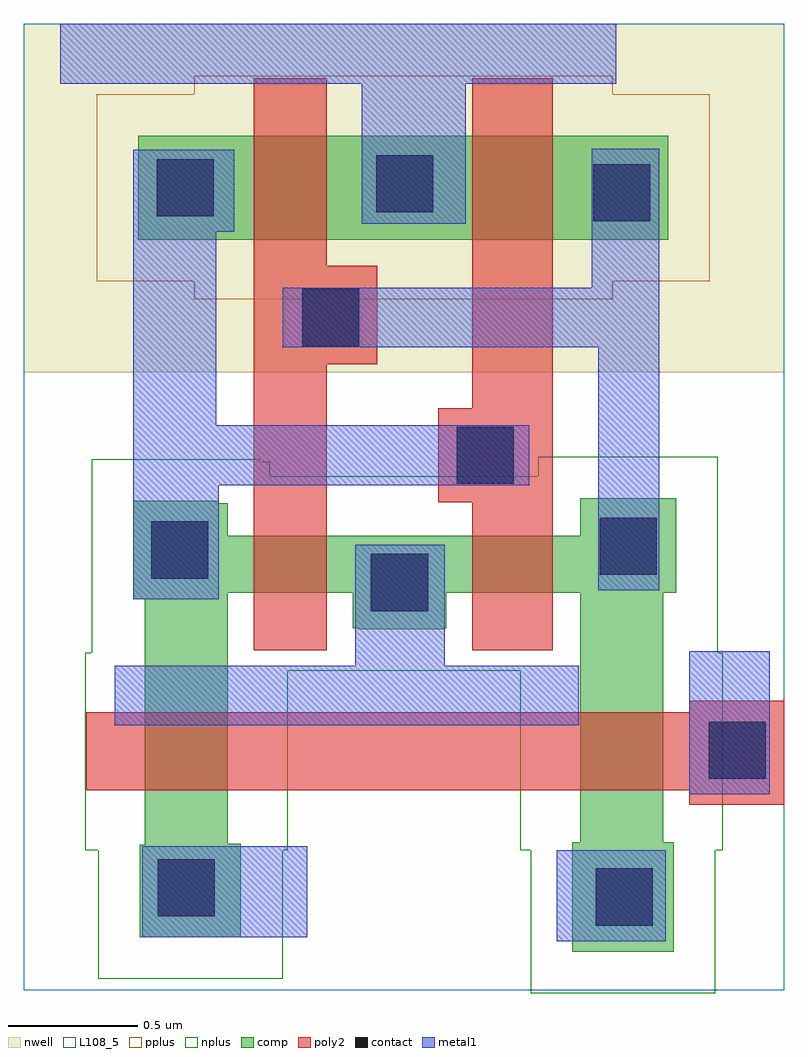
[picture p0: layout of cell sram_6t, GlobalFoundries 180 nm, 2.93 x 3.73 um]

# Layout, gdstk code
import gdstk
lib = gdstk.Library(unit=1e-6, precision=1e-09)
def R(c, l, rs):  # rectangles x0, y0, x1, y1
    for r in rs: c.add(gdstk.rectangle(r[:2], r[2:], *l))
nwell = (21, 0)
comp = (22, 0)
poly2 = (30, 0)
pplus = (31, 0)
nplus = (32, 0)
contact = (33, 0)
metal1 = (34, 0)
L108_5 = (108, 5)

sram_6t = lib.new_cell('sram_6t')
R(sram_6t, nwell, [(-0.55,2,2.375,3.34)])
R(sram_6t, comp, [(1.56,-0.23,1.95,0.19), (-0.105,-0.175,0.285,0.18), (-0.085,0.18,0.285,0.185), (-0.085,0.185,0.235,1.125), (1.59,0.19,1.91,1.15), (0.735,1.01,1.07,1.015), (0.715,1.015,1.075,1.15), (-0.13,1.125,0.235,1.15), (-0.13,1.15,1.96,1.37), (-0.13,1.37,0.235,1.495), (1.59,1.37,1.96,1.515), (-0.13,1.495,0.2,1.505), (-0.11,2.51,1.93,2.91)])
R(sram_6t, poly2, [(2.01,0.335,2.375,0.39), (-0.31,0.39,2.375,0.69), (2.01,0.69,2.375,0.735), (0.335,0.93,0.615,2.03), (1.175,0.93,1.485,1.5), (1.045,1.5,1.485,1.86), (1.175,1.86,1.485,3.13), (0.335,2.03,0.81,2.41), (0.335,2.41,0.615,3.13)])
R(sram_6t, pplus, [(0.105,2.28,1.715,2.35), (-0.27,2.35,2.09,3.07), (0.105,3.07,1.715,3.14)])
R(sram_6t, nplus, [(1.4,-0.39,2.11,0.16), (-0.265,-0.335,0.445,0.16), (-0.315,0.16,0.465,0.85), (1.36,0.16,2.14,0.85), (-0.315,0.85,2.14,0.92), (-0.29,0.92,2.12,1.6), (-0.29,1.6,0.395,1.655), (1.43,1.6,2.12,1.675), (-0.29,1.655,0.36,1.665)])
R(sram_6t, contact, [(1.65,-0.13,1.87,0.09), (-0.035,-0.095,0.185,0.125), (2.085,0.435,2.305,0.655), (0.785,1.08,1.005,1.3), (-0.06,1.205,0.16,1.425), (1.665,1.22,1.885,1.44), (1.115,1.57,1.335,1.79), (0.52,2.1,0.74,2.32), (1.64,2.58,1.86,2.8), (-0.04,2.6,0.18,2.82), (0.805,2.615,1.025,2.835)])
R(sram_6t, metal1, [(1.5,-0.19,1.92,0.16), (-0.095,-0.175,0.54,0.175), (2.01,0.375,2.32,0.925), (-0.2,0.64,1.585,0.87), (0.725,0.87,1.07,1.335), (-0.13,1.125,0.2,1.565), (1.66,1.16,1.895,2.095), (-0.13,1.565,1.395,1.795), (-0.13,1.795,0.19,2.54), (0.445,2.095,1.895,2.325), (1.635,2.325,1.895,2.86), (-0.13,2.54,0.26,2.855), (0.75,2.57,1.15,3.11), (-0.41,3.11,1.73,3.34)])
R(sram_6t, L108_5, [(-0.55,-0.38,2.375,3.34)])

lib.write_gds('sram_6t.gds')
